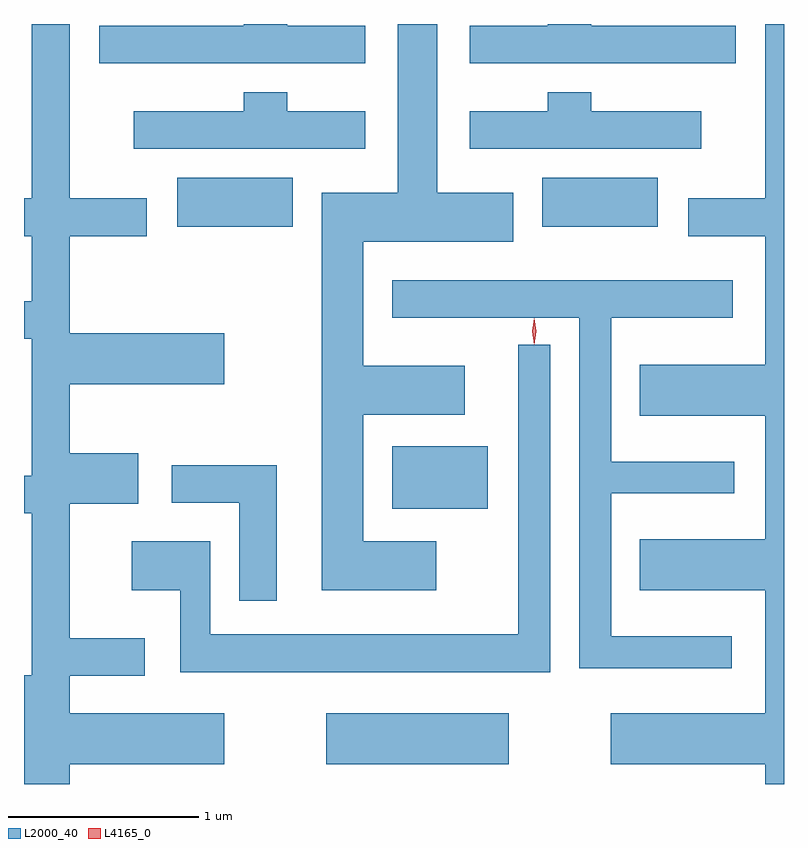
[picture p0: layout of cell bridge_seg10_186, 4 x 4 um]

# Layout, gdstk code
import gdstk
lib = gdstk.Library(unit=1e-6, precision=1e-09)
def R(c, l, rs):  # rectangles x0, y0, x1, y1
    for r in rs: c.add(gdstk.rectangle(r[:2], r[2:], *l))
def P(c, l, *ps):  # polygons
    for p in ps: c.add(gdstk.Polygon(p, *l))
L2000_40 = (2000, 40)
L4165_0 = (4165, 0)

bridge_seg10_186 = lib.new_cell('bridge_seg10_186')
R(bridge_seg10_186, L2000_40, [(1894.141,2139.966,1895.099,2140.234), (1894.486,2141.311,1894.989,2141.639), (1893.356,2142.796,1893.964,2143.054), (1895.276,2142.796,1895.884,2143.054)])
P(bridge_seg10_186, L2000_40, [(1894.719,2141.139),(1894.334,2141.139),(1894.334,2141.806),(1894.869,2141.806),(1894.869,2142.064),(1894.334,2142.064),(1894.334,2142.716),(1895.124,2142.716),(1895.124,2142.974),(1894.724,2142.974),(1894.724,2143.862),(1894.516,2143.862),(1894.516,2142.974),(1894.116,2142.974),(1894.116,2140.881),(1894.719,2140.881)],
  [(1896.294,2143.854),(1895.534,2143.854),(1895.534,2143.862),(1895.306,2143.862),(1895.306,2143.854),(1894.896,2143.854),(1894.896,2143.656),(1896.294,2143.656)],
  [(1892.549,2142.206),(1892.591,2142.206),(1892.591,2141.484),(1892.549,2141.484),(1892.549,2141.286),(1892.591,2141.286),(1892.591,2140.434),(1892.549,2140.434),(1892.549,2139.862),(1892.789,2139.862),(1892.789,2139.966),(1893.604,2139.966),(1893.604,2140.234),(1892.789,2140.234),(1892.789,2140.431),(1893.184,2140.431),(1893.184,2140.629),(1892.789,2140.629),(1892.789,2141.336),(1893.149,2141.336),(1893.149,2141.604),(1892.789,2141.604),(1892.789,2141.966),(1893.604,2141.966),(1893.604,2142.234),(1892.789,2142.234),(1892.789,2142.746),(1893.194,2142.746),(1893.194,2142.944),(1892.789,2142.944),(1892.789,2143.862),(1892.591,2143.862),(1892.591,2142.944),(1892.549,2142.944),(1892.549,2142.746),(1892.591,2142.746),(1892.591,2142.404),(1892.549,2142.404)],
  [(1895.791,2142.069),(1895.791,2141.801),(1896.451,2141.801),(1896.451,2141.149),(1895.791,2141.149),(1895.791,2140.881),(1896.451,2140.881),(1896.451,2140.234),(1895.636,2140.234),(1895.636,2139.966),(1896.451,2139.966),(1896.451,2139.862),(1896.549,2139.862),(1896.549,2143.862),(1896.451,2143.862),(1896.451,2142.944),(1896.046,2142.944),(1896.046,2142.746),(1896.451,2142.746),(1896.451,2142.069)],
  [(1894.344,2143.854),(1893.934,2143.854),(1893.934,2143.862),(1893.706,2143.862),(1893.706,2143.854),(1892.946,2143.854),(1892.946,2143.656),(1894.344,2143.656)],
  [(1894.344,2143.404),(1893.934,2143.404),(1893.934,2143.504),(1893.706,2143.504),(1893.706,2143.404),(1893.126,2143.404),(1893.126,2143.206),(1894.344,2143.206)],
  [(1896.114,2143.404),(1895.534,2143.404),(1895.534,2143.504),(1895.306,2143.504),(1895.306,2143.404),(1894.896,2143.404),(1894.896,2143.206),(1896.114,2143.206)],
  [(1896.273,2140.639),(1895.639,2140.639),(1895.639,2141.391),(1896.288,2141.391),(1896.288,2141.559),(1895.639,2141.559),(1895.639,2142.316),(1896.279,2142.316),(1896.279,2142.514),(1894.486,2142.514),(1894.486,2142.316),(1895.471,2142.316),(1895.471,2140.471),(1896.273,2140.471)],
  [(1895.319,2142.173),(1895.151,2142.173),(1895.151,2140.649),(1893.529,2140.649),(1893.529,2141.139),(1893.116,2141.139),(1893.116,2140.881),(1893.371,2140.881),(1893.371,2140.451),(1895.319,2140.451)],
  [(1893.879,2141.539),(1893.326,2141.539),(1893.326,2141.341),(1893.681,2141.341),(1893.681,2140.826),(1893.879,2140.826)])
P(bridge_seg10_186, L4165_0, [(1895.235,2142.174),(1895.234,2142.175),(1895.225,2142.244),(1895.234,2142.313),(1895.235,2142.314),(1895.235,2142.313),(1895.245,2142.244),(1895.235,2142.175)])

lib.write_gds('bridge_seg10_186.gds')
